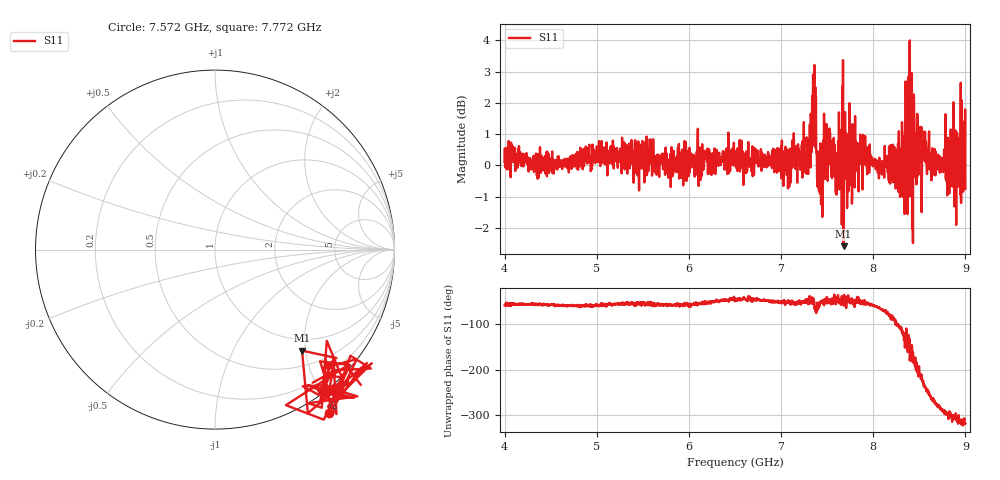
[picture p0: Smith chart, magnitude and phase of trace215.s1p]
! Created with skrf 1.8.0 (http://scikit-rf.org).
# Hz S RI R 50.0
!freq ReS11 ImS11
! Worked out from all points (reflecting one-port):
!   1601 points, 4 GHz to 9 GHz, reference 50 ohm
!   lowest |S11| = -2.6 dB at 7.678 GHz (marker M1), VSWR 6.77, Z = 38.5 - j96.7 ohm
!   phase of S11 starts at -59 deg and turns -258 deg over the sweep
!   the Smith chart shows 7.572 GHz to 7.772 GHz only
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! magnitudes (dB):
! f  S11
! 4 GHz  0.1
! 4.625 GHz  -0.1
! 5.25 GHz  0.1
! 5.875 GHz  0.3
! 6.5 GHz  0.2
! 7.097 GHz  0.5
! 7.125 GHz  0.8
! 7.294 GHz  -0.3
! 7.347 GHz  2.9
! 7.369 GHz  2.3
! 7.4 GHz  -0.4
! 7.428 GHz  0.7
! 7.481 GHz  -0.4
! 7.609 GHz  0.4
! 7.647 GHz  0.2
! 7.678 GHz  -2.6
! 7.75 GHz  0.0
! 7.878 GHz  0.1
! 8.316 GHz  0.6
! 8.331 GHz  -1.0
! 8.347 GHz  1.1
! 8.375 GHz  0.2
! 8.394 GHz  0.1
! 8.447 GHz  1.5
! 8.459 GHz  -0.3
! 8.734 GHz  -0.2
! 8.972 GHz  0.3
! 9 GHz  -0.8
